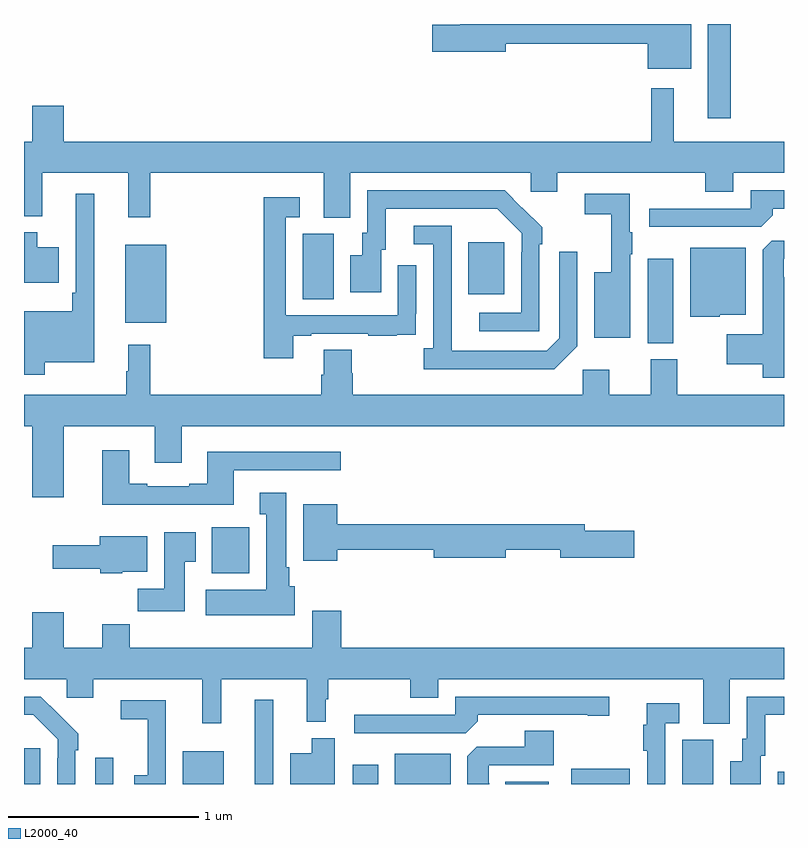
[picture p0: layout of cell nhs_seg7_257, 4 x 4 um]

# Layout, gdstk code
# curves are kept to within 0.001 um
import gdstk
lib = gdstk.Library(unit=1e-6, precision=1e-09)
def R(c, l, rs):  # rectangles x0, y0, x1, y1
    for r in rs: c.add(gdstk.rectangle(r[:2], r[2:], *l))
def P(c, l, *ps):  # polygons
    for p in ps: c.add(gdstk.Polygon(p, *l))
L2000_40 = (2000, 40)

nhs_seg7_257 = lib.new_cell('nhs_seg7_257')
R(nhs_seg7_257, L2000_40, [(129,1064,129.085,1064.188), (129.375,1064,129.471,1064.137), (129.836,1064,130.051,1064.173), (130.214,1064,130.311,1064.443), (130.73,1064,130.864,1064.101), (130.952,1064,131.245,1064.158), (131.534,1064,131.761,1064.011), (131.88,1064,132.187,1064.08), (132.464,1064,132.628,1064.232), (132.966,1064,133,1064.065), (129.989,1065.11,130.186,1065.352), (132.284,1066.321,132.418,1066.765), (129.533,1066.427,129.748,1066.837), (130.466,1066.552,130.63,1066.896), (131.339,1066.577,131.527,1066.852), (132.599,1067.505,132.721,1068)])
P(nhs_seg7_257, L2000_40, [(132.511,1068),(131.297,1068),(131.297,1067.996),(131.148,1067.996),(131.148,1067.854),(131.536,1067.854),(131.536,1067.896),(132.284,1067.896),(132.284,1067.765),(132.511,1067.765)],
  [(130.717,1067.216),(131.667,1067.216),(131.667,1067.118),(131.806,1067.118),(131.806,1067.216),(132.586,1067.216),(132.586,1067.117),(132.733,1067.117),(132.733,1067.216),(133,1067.216),(133,1067.38),(132.421,1067.38),(132.421,1067.662),(132.3,1067.662),(132.3,1067.38),(129.208,1067.38),(129.208,1067.569),(129.044,1067.569),(129.044,1067.38),(129,1067.38),(129,1066.988),(129.095,1066.988),(129.095,1067.216),(129.548,1067.216),(129.548,1066.983),(129.665,1066.983),(129.665,1067.216),(130.577,1067.216),(130.577,1066.981),(130.717,1066.981)],
  [(132.941,1066.994),(132.941,1067.028),(133,1067.028),(133,1067.124),(132.825,1067.124),(132.825,1067.028),(132.291,1067.028),(132.291,1066.932),(132.879,1066.932)],
  [(131.712,1066.841),(131.727,1066.841),(131.727,1066.929),(131.53,1067.124),(130.806,1067.124),(130.806,1066.902),(130.781,1066.902),(130.781,1066.783),(130.718,1066.783),(130.718,1066.587),(130.879,1066.587),(130.879,1066.812),(130.903,1066.812),(130.903,1067.028),(131.491,1067.028),(131.619,1066.899),(131.619,1066.799),(131.616,1066.799),(131.616,1066.479),(131.397,1066.479),(131.397,1066.383),(131.712,1066.383)],
  [(129.108,1066.22),(129.37,1066.22),(129.37,1067.107),(129.273,1067.107),(129.273,1066.585),(129.253,1066.585),(129.253,1066.489),(129,1066.489),(129,1066.155),(129.108,1066.155)],
  [(132.19,1066.789),(132.202,1066.789),(132.202,1066.903),(132.189,1066.903),(132.189,1067.106),(131.952,1067.106),(131.952,1066.998),(132.092,1066.998),(132.092,1066.693),(132.002,1066.693),(132.002,1066.349),(132.19,1066.349)],
  [(130.417,1066.359),(130.513,1066.359),(130.513,1066.371),(130.813,1066.371),(130.813,1066.359),(130.961,1066.359),(130.961,1066.365),(131.063,1066.365),(131.063,1066.474),(131.064,1066.474),(131.064,1066.729),(130.968,1066.729),(130.968,1066.467),(130.377,1066.467),(130.377,1066.983),(130.45,1066.983),(130.45,1067.089),(130.261,1067.089),(130.261,1066.242),(130.417,1066.242)],
  [(131.913,1066.305),(131.913,1066.801),(131.817,1066.801),(131.817,1066.347),(131.751,1066.281),(131.251,1066.281),(131.25,1066.938),(131.052,1066.938),(131.052,1066.842),(131.154,1066.842),(131.154,1066.294),(131.103,1066.294),(131.103,1066.184),(131.792,1066.184)],
  [(129.184,1066.825),(129.07,1066.825),(129.07,1066.903),(129,1066.903),(129,1066.637),(129.184,1066.637)],
  [(133,1066.667),(133,1066.86),(132.936,1066.86),(132.887,1066.811),(132.887,1066.366),(132.699,1066.366),(132.699,1066.208),(132.887,1066.208),(132.887,1066.139),(133,1066.139)],
  [(132.663,1066.469),(132.799,1066.469),(132.799,1066.822),(132.506,1066.822),(132.506,1066.46),(132.663,1066.46)],
  [(129.689,1065.69),(129.829,1065.69),(129.829,1065.884),(133,1065.884),(133,1066.048),(132.439,1066.048),(132.439,1066.236),(132.299,1066.236),(132.299,1066.048),(132.079,1066.048),(132.079,1066.18),(131.94,1066.18),(131.94,1066.048),(130.73,1066.048),(130.73,1066.161),(130.725,1066.161),(130.725,1066.286),(130.577,1066.286),(130.577,1066.154),(130.565,1066.154),(130.565,1066.048),(129.665,1066.048),(129.665,1066.312),(129.548,1066.312),(129.548,1066.172),(129.537,1066.172),(129.537,1066.048),(129,1066.048),(129,1065.884),(129.044,1065.884),(129.044,1065.51),(129.208,1065.51),(129.208,1065.884),(129.689,1065.884)],
  [(130.105,1065.651),(130.666,1065.651),(130.666,1065.748),(129.965,1065.748),(129.965,1065.58),(129.869,1065.58),(129.869,1065.567),(129.649,1065.567),(129.649,1065.58),(129.553,1065.58),(129.553,1065.757),(129.413,1065.757),(129.413,1065.47),(130.105,1065.47)],
  [(130.426,1065.042),(130.396,1065.042),(130.396,1065.142),(130.381,1065.142),(130.381,1065.532),(130.241,1065.532),(130.241,1065.419),(130.274,1065.419),(130.274,1065.022),(129.957,1065.022),(129.957,1064.888),(130.426,1064.888)],
  [(130.648,1065.232),(131.156,1065.232),(131.156,1065.19),(131.536,1065.19),(131.536,1065.232),(131.822,1065.232),(131.822,1065.19),(132.211,1065.19),(132.211,1065.332),(131.95,1065.332),(131.95,1065.368),(130.648,1065.368),(130.648,1065.472),(130.469,1065.472),(130.469,1065.176),(130.648,1065.176)],
  [(129.847,1065.169),(129.904,1065.169),(129.904,1065.325),(129.737,1065.325),(129.737,1065.028),(129.598,1065.028),(129.598,1064.91),(129.847,1064.91)],
  [(129.516,1065.116),(129.649,1065.116),(129.649,1065.304),(129.398,1065.304),(129.398,1065.256),(129.15,1065.256),(129.15,1065.134),(129.402,1065.134),(129.402,1065.11),(129.516,1065.11)],
  [(132.715,1064.552),(133,1064.552),(133,1064.716),(130.67,1064.716),(130.67,1064.911),(130.517,1064.911),(130.517,1064.716),(129.557,1064.716),(129.557,1064.84),(129.413,1064.84),(129.413,1064.716),(129.208,1064.716),(129.208,1064.905),(129.044,1064.905),(129.044,1064.716),(129,1064.716),(129,1064.552),(129.225,1064.552),(129.225,1064.454),(129.364,1064.454),(129.364,1064.552),(129.938,1064.552),(129.938,1064.319),(130.037,1064.319),(130.037,1064.552),(130.489,1064.552),(130.489,1064.327),(130.588,1064.327),(130.588,1064.445),(130.6,1064.445),(130.6,1064.552),(131.032,1064.552),(131.032,1064.453),(131.179,1064.453),(131.179,1064.552),(132.575,1064.552),(132.575,1064.317),(132.715,1064.317)],
  [(132.877,1064.148),(132.901,1064.148),(132.901,1064.364),(133,1064.364),(133,1064.46),(132.804,1064.46),(132.804,1064.238),(132.779,1064.238),(132.779,1064.119),(132.716,1064.119),(132.716,1064),(132.877,1064)],
  [(129.27,1064.177),(129.285,1064.177),(129.285,1064.265),(129.088,1064.46),(129,1064.46),(129,1064.364),(129.049,1064.364),(129.177,1064.235),(129.177,1064.135),(129.174,1064.135),(129.174,1064),(129.27,1064)],
  [(131.387,1064.33),(131.387,1064.364),(131.966,1064.364),(131.966,1064.359),(132.079,1064.359),(132.079,1064.46),(131.271,1064.46),(131.271,1064.364),(130.737,1064.364),(130.737,1064.268),(131.325,1064.268)],
  [(129.747,1064.442),(129.51,1064.442),(129.51,1064.341),(129.65,1064.341),(129.65,1064.047),(129.581,1064.047),(129.581,1064),(129.747,1064)],
  [(132.375,1064.319),(132.448,1064.319),(132.448,1064.425),(132.278,1064.425),(132.278,1064.312),(132.259,1064.312),(132.259,1064.176),(132.279,1064.176),(132.279,1064),(132.375,1064)],
  [(131.449,1064.003),(131.445,1064.003),(131.445,1064.1),(131.789,1064.1),(131.789,1064.279),(131.636,1064.279),(131.636,1064.196),(131.382,1064.196),(131.333,1064.147),(131.333,1064),(131.449,1064)],
  [(130.636,1064.242),(130.514,1064.242),(130.514,1064.161),(130.4,1064.161),(130.4,1064),(130.636,1064)])

lib.write_gds('nhs_seg7_257.gds')
